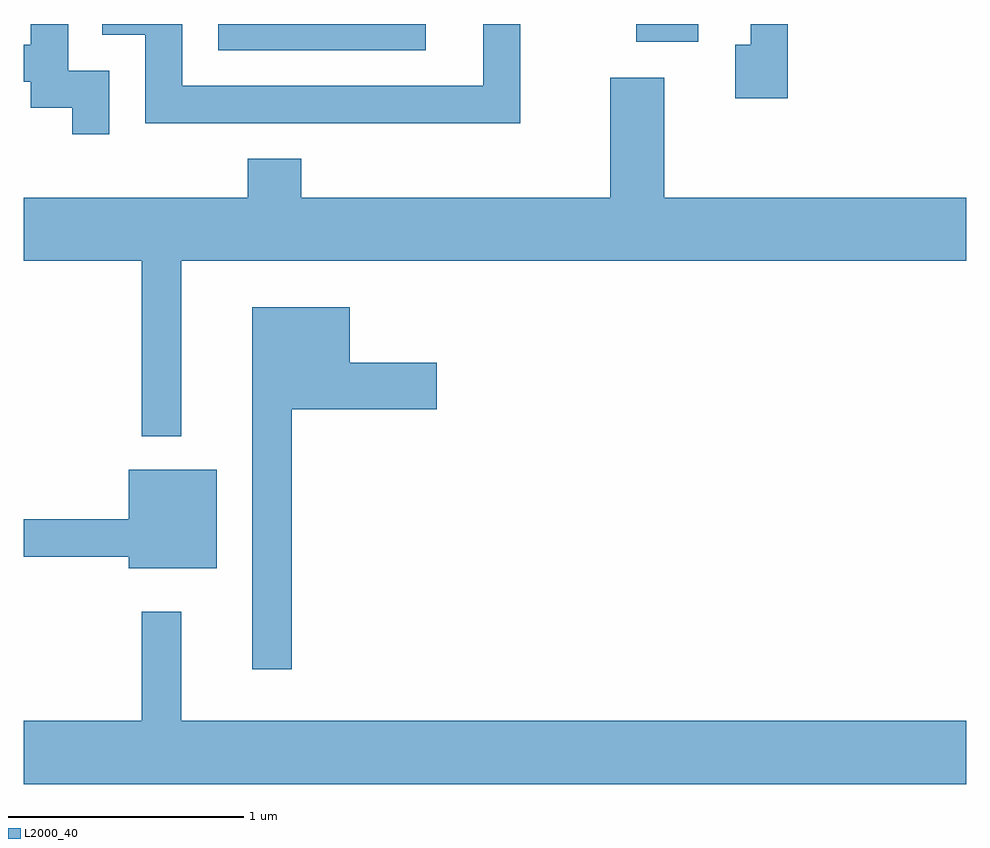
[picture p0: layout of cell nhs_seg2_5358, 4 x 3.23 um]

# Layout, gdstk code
import gdstk
lib = gdstk.Library(unit=1e-6, precision=1e-09)
def R(c, l, rs):  # rectangles x0, y0, x1, y1
    for r in rs: c.add(gdstk.rectangle(r[:2], r[2:], *l))
def P(c, l, *ps):  # polygons
    for p in ps: c.add(gdstk.Polygon(p, *l))
L2000_40 = (2000, 40)

nhs_seg2_5358 = lib.new_cell('nhs_seg2_5358')
R(nhs_seg2_5358, L2000_40, [(344.436,1013.691,345.318,1013.802), (346.211,1013.726,346.474,1013.802)])
P(nhs_seg2_5358, L2000_40, [(346.854,1013.802),(346.696,1013.802),(346.696,1013.714),(346.631,1013.714),(346.631,1013.486),(346.854,1013.486)],
  [(343.974,1013.604),(343.799,1013.604),(343.799,1013.802),(343.641,1013.802),(343.641,1013.714),(343.611,1013.714),(343.611,1013.556),(343.641,1013.556),(343.641,1013.446),(343.816,1013.446),(343.816,1013.333),(343.974,1013.333)],
  [(345.719,1013.802),(345.561,1013.802),(345.561,1013.539),(344.284,1013.539),(344.284,1013.802),(343.943,1013.802),(343.943,1013.756),(344.126,1013.756),(344.126,1013.381),(345.719,1013.381)],
  [(344.279,1012.796),(347.611,1012.796),(347.611,1013.064),(346.329,1013.064),(346.329,1013.574),(346.101,1013.574),(346.101,1013.064),(344.789,1013.064),(344.789,1013.229),(344.561,1013.229),(344.561,1013.064),(343.611,1013.064),(343.611,1012.796),(344.111,1012.796),(344.111,1012.053),(344.279,1012.053)],
  [(344.749,1012.166),(345.364,1012.166),(345.364,1012.364),(344.994,1012.364),(344.994,1012.599),(344.581,1012.599),(344.581,1011.063),(344.749,1011.063)],
  [(344.429,1011.909),(344.056,1011.909),(344.056,1011.699),(343.611,1011.699),(343.611,1011.541),(344.056,1011.541),(344.056,1011.491),(344.429,1011.491)],
  [(347.611,1010.844),(344.279,1010.844),(344.279,1011.308),(344.111,1011.308),(344.111,1010.844),(343.611,1010.844),(343.611,1010.576),(347.611,1010.576)])

lib.write_gds('nhs_seg2_5358.gds')
